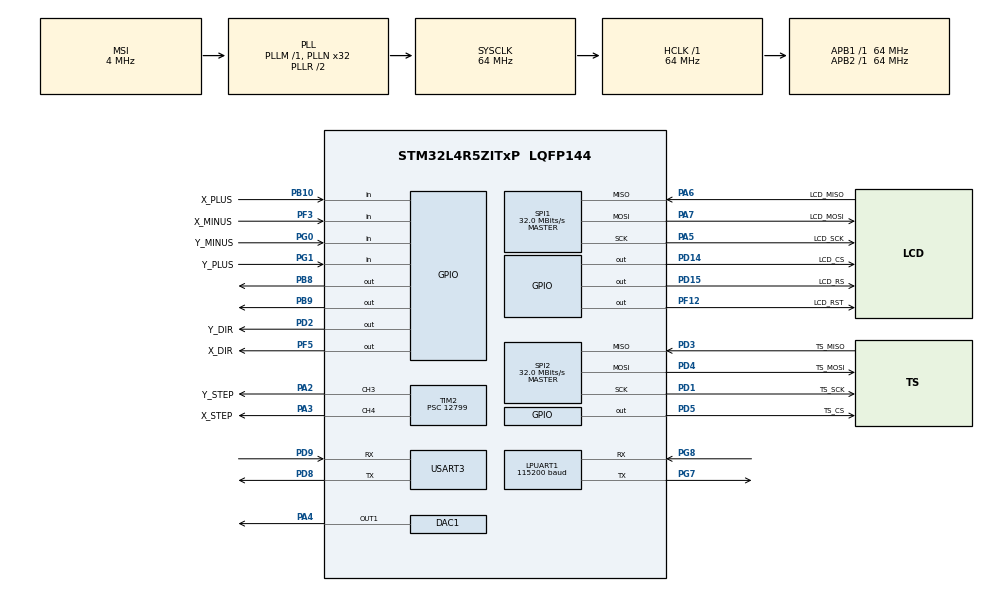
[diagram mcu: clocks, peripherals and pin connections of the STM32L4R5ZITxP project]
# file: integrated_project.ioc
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LPUART1.BaudRate=115200
LPUART1.WordLength=UART_WORDLENGTH_8B
Mcu.Family=STM32L4
Mcu.Name=STM32L4R5ZITxP
Mcu.Package=LQFP144
NVIC.PriorityGroup=NVIC_PRIORITYGROUP_4
NVIC.TIM1_TRG_COM_TIM17_IRQn=true\:0\:0\:false\:false\:true\:true\:true\:true
NVIC.TIM3_IRQn=true\:0\:0\:false\:false\:true\:true\:true\:true
PA0.Signal=S_TIM2_CH1
PA1.Signal=ADCx_IN6
PA10.Signal=USB_OTG_FS_ID
PA13\ (JTMS/SWDIO).Signal=SYS_JTMS-SWDIO
PA14\ (JTCK/SWCLK).Signal=SYS_JTCK-SWCLK
PA2.GPIO_Label=Y_STEP
PA2.Signal=S_TIM2_CH3
PA3.GPIO_Label=X_STEP
PA3.Signal=S_TIM2_CH4
PA4.Signal=COMP_DAC11_group
PA5.GPIO_Label=LCD_SCK
PA5.Mode=Full_Duplex_Master
PA5.Signal=SPI1_SCK
PA6.GPIO_Label=LCD_MISO
PA6.Mode=Full_Duplex_Master
PA6.Signal=SPI1_MISO
PA7.GPIO_Label=LCD_MOSI
PA7.Mode=Full_Duplex_Master
PA7.Signal=SPI1_MOSI
PA8.Signal=USB_OTG_FS_SOF
PA9.Signal=USB_OTG_FS_VBUS
PB0.Signal=S_TIM3_CH3
PB1.Signal=ADCx_IN16
PB10.GPIO_Label=X_PLUS
PB10.GPIO_PuPd=GPIO_PULLUP
PB10.Signal=GPIO_Input
PB12.Signal=SAI2_FS_A
PB13.Signal=SAI2_SCK_A
PB14.Signal=S_TIM15_CH1
PB15.Signal=SAI2_SD_A
PB2.Signal=COMP1_INP
PB3\ (JTDO/TRACESWO).Signal=SPI3_SCK
PB4\ (NJTRST).Signal=SPI3_MISO
PB5.Signal=SPI3_MOSI
PB6.Signal=COMP2_INP
PB8.Signal=GPIO_Output
PB9.Signal=GPIO_Output
PC0.Signal=ADCx_IN1
PC1.Signal=ADCx_IN2
PC10.Signal=SDMMC1_D2
PC11.Signal=SDMMC1_D3
PC12.Signal=SDMMC1_CK
PC13.Signal=SYS_WKUP2
PC14-OSC32_IN\ (PC14).Signal=RCC_OSC32_IN
PC15-OSC32_OUT\ (PC15).Signal=RCC_OSC32_OUT
PC2.Signal=ADCx_IN3
PC3.Signal=ADCx_IN4
PC4.Signal=ADCx_IN13
PC5.Signal=ADCx_IN14
PC6.Signal=SAI2_MCLK_A
PC7.Signal=S_TIM3_CH2
PC8.Signal=SDMMC1_D0
PC9.Signal=SDMMC1_D1
PD0.Signal=CAN1_RX
PD1.GPIO_Label=TS_SCK
PD1.Mode=Full_Duplex_Master
PD1.Signal=SPI2_SCK
PD14.GPIO_Label=LCD_CS
PD14.Signal=GPIO_Output
PD15.GPIO_Label=LCD_RS
PD15.Signal=GPIO_Output
PD2.GPIO_Label=Y_DIR
PD2.Signal=GPIO_Output
PD3.GPIO_Label=TS_MISO
PD3.Mode=Full_Duplex_Master
PD3.Signal=SPI2_MISO
PD4.GPIO_Label=TS_MOSI
PD4.Mode=Full_Duplex_Master
PD4.Signal=SPI2_MOSI
PD5.GPIO_Label=TS_CS
PD5.Signal=GPIO_Output
PD6.Signal=USART2_RX
PD8.Mode=Asynchronous
PD8.Signal=USART3_TX
PD9.Mode=Asynchronous
PD9.Signal=USART3_RX
PE0.Signal=S_TIM4_ETR
PE10.Signal=TIM1_CH2N
PE11.Signal=S_TIM1_CH2
PE12.Signal=TIM1_CH3N
PE13.Signal=S_TIM1_CH3
PE14.Signal=TIM1_BKIN2
PE15.Signal=TIM1_BKIN
PE2.Signal=SAI1_MCLK_A
PE3.Signal=SAI1_SD_B
PE7.Signal=S_TIM1_ETR
PE8.Signal=TIM1_CH1N
PE9.Signal=S_TIM1_CH1
PF0.Signal=I2C2_SDA
PF1.Signal=I2C2_SCL
PF12.GPIO_Label=LCD_RST
PF12.Signal=GPIO_Output
PF2.Signal=I2C2_SMBA
PF3.GPIO_Label=X_MINUS
PF3.GPIO_PuPd=GPIO_PULLUP
PF3.Signal=GPIO_Input
PF5.GPIO_Label=X_DIR
PF5.Signal=GPIO_Output
PF7.Signal=SAI1_MCLK_B
PG0.GPIO_Label=Y_MINUS
PG0.GPIO_PuPd=GPIO_PULLUP
PG0.Signal=GPIO_Input
PG1.GPIO_Label=Y_PLUS
PG1.GPIO_PuPd=GPIO_PULLUP
PG1.Signal=GPIO_Input
PG7.Mode=Asynchronous
PG7.Signal=LPUART1_TX
PG8.Mode=Asynchronous
PG8.Signal=LPUART1_RX
PH0-OSC_IN\ (PH0).Signal=RCC_OSC_IN
PH1-OSC_OUT\ (PH1).Signal=RCC_OSC_OUT
ProjectManager.HeapSize=0x200
ProjectManager.StackSize=0x400
ProjectManager.TargetToolchain=STM32CubeIDE
RCC.AHBFreq_Value=64000000
RCC.APB1Freq_Value=64000000
RCC.APB1TimFreq_Value=64000000
RCC.APB2Freq_Value=64000000
RCC.APB2TimFreq_Value=64000000
RCC.CortexFreq_Value=64000000
RCC.HCLKFreq_Value=64000000
RCC.HSE_VALUE=8000000
RCC.HSI48_VALUE=48000000
RCC.HSI_VALUE=16000000
RCC.LSE_VALUE=32768
RCC.MSI_VALUE=4000000
RCC.PLLN=32
RCC.SYSCLKFreq_VALUE=64000000
RCC.SYSCLKSource=RCC_SYSCLKSOURCE_PLLCLK
RCC.VCOOutputFreq_Value=128000000
SH.ADCx_IN1.0=ADC1_IN1
SH.ADCx_IN13.0=ADC1_IN13
SH.ADCx_IN14.0=ADC1_IN14
SH.ADCx_IN16.0=ADC1_IN16
SH.ADCx_IN2.0=ADC1_IN2
SH.ADCx_IN3.0=ADC1_IN3
SH.ADCx_IN4.0=ADC1_IN4
SH.ADCx_IN6.0=ADC1_IN6
SH.COMP_DAC11_group.0=DAC1_OUT1,DAC_OUT1
SH.S_TIM15_CH1.0=TIM15_CH1
SH.S_TIM1_CH1.0=TIM1_CH1
SH.S_TIM1_CH2.0=TIM1_CH2
SH.S_TIM1_CH3.0=TIM1_CH3
SH.S_TIM1_ETR.0=TIM1_ETR
SH.S_TIM2_CH1.0=TIM2_CH1
SH.S_TIM2_CH3.0=TIM2_CH3,PWM Generation3 CH3
SH.S_TIM2_CH4.0=TIM2_CH4,PWM Generation4 CH4
SH.S_TIM3_CH2.0=TIM3_CH2
SH.S_TIM3_CH3.0=TIM3_CH3
SH.S_TIM4_ETR.0=TIM4_ETR
SPI1.CalculateBaudRate=32.0 MBits/s
SPI1.DataSize=SPI_DATASIZE_8BIT
SPI1.Direction=SPI_DIRECTION_2LINES
SPI1.Mode=SPI_MODE_MASTER
SPI1.VirtualType=VM_MASTER
SPI2.CalculateBaudRate=32.0 MBits/s
SPI2.DataSize=SPI_DATASIZE_8BIT
SPI2.Direction=SPI_DIRECTION_2LINES
SPI2.Mode=SPI_MODE_MASTER
SPI2.VirtualType=VM_MASTER
TIM16.Channel=TIM_CHANNEL_1
TIM16.Prescaler=63999
TIM17.Channel=TIM_CHANNEL_1
TIM17.Period=999
TIM17.Prescaler=63
TIM2.Channel-PWM\ Generation3\ CH3=TIM_CHANNEL_3
TIM2.Channel-PWM\ Generation4\ CH4=TIM_CHANNEL_4
TIM2.Period=9
TIM2.Prescaler=12799
TIM2.Pulse-PWM\ Generation3\ CH3=5
TIM2.Pulse-PWM\ Generation4\ CH4=5
TIM3.Period=363
TIM3.Prescaler=3
USART3.FIFOMode=FIFOMODE_ENABLE
USART3.VirtualMode-Asynchronous=VM_ASYNC
VP_TIM16_VS_ClockSourceINT.Mode=Enable_Timer
VP_TIM16_VS_no_output1.Mode=Output Compare1 No Output
VP_TIM17_VS_ClockSourceINT.Mode=Enable_Timer
VP_TIM17_VS_no_output1.Mode=Output Compare1 No Output
VP_TIM2_VS_ClockSourceINT.Mode=Internal
VP_TIM3_VS_ClockSourceINT.Mode=Internal
board=NUCLEO-L4R5ZI-P

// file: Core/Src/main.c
/* USER CODE BEGIN Header */
/**
  ******************************************************************************
  * @file           : main.c
  * @brief          : Main program body
  ******************************************************************************
  * @attention
  *
  * Copyright (c) 2023 STMicroelectronics.
  * All rights reserved.
  *
  * This software is licensed under terms that can be found in the LICENSE file
  * in the root directory of this software component.
  * If no LICENSE file comes with this software, it is provided AS-IS.
  *
  ******************************************************************************
  */
/* USER CODE END Header */
#include "main.h"

/* USER CODE BEGIN Includes */
#include "actuator_driver.h"
#include "audio_driver.h"
#include "lcd_driver.h"
#include "motor_driver.h"
#include "pixy_driver.h"
#include "ttt_game.h"
#include "stm32_adafruit_lcd.h"
#include "stm32_adafruit_ts.h"
/* USER CODE END Includes */

DAC_HandleTypeDef hdac1;

UART_HandleTypeDef hlpuart1;
UART_HandleTypeDef huart3;

SPI_HandleTypeDef hspi1;
SPI_HandleTypeDef hspi2;

TIM_HandleTypeDef htim2;
TIM_HandleTypeDef htim3;
TIM_HandleTypeDef htim16;
TIM_HandleTypeDef htim17;

/* USER CODE BEGIN PV */
extern uint8_t xPlus;
extern uint8_t xMinus;
extern uint8_t yPlus;
extern uint8_t yMinus;
extern uint32_t current_audio_state;
/* USER CODE END PV */

void SystemClock_Config(void);
static void MX_GPIO_Init(void);
static void MX_LPUART1_UART_Init(void);
static void MX_TIM2_Init(void);
static void MX_TIM16_Init(void);
static void MX_TIM17_Init(void);
static void MX_SPI1_Init(void);
static void MX_SPI2_Init(void);
static void MX_USART3_UART_Init(void);
static void MX_DAC1_Init(void);
static void MX_TIM3_Init(void);

/* USER CODE BEGIN 0 */
void TIM3_ISR() {
	// timer used to play audio at the proper sampling freq
	Audio_StateMachine(&hdac1);
}

void TIM17_ISR() {
	// timer used to monitor/poll limit switches every 1ms
	xMinus = HAL_GPIO_ReadPin(X_MINUS_Limit_Port, X_MINUS_Limit_Pin);
	xPlus = HAL_GPIO_ReadPin(X_PLUS_Limit_Port, X_PLUS_Limit_Pin);
	yMinus = HAL_GPIO_ReadPin(Y_MINUS_Limit_Port, Y_MINUS_Limit_Pin);
	yPlus = HAL_GPIO_ReadPin(Y_PLUS_Limit_Port, Y_PLUS_Limit_Pin);
}
/* USER CODE END 0 */

int main(void)
{

  /* MCU Configuration--------------------------------------------------------*/

  /* Reset of all peripherals, Initializes the Flash interface and the Systick. */
  HAL_Init();

  /* Configure the system clock */
  SystemClock_Config();

  /* Initialize all configured peripherals */
  MX_GPIO_Init();
  MX_LPUART1_UART_Init();
  MX_TIM2_Init();
  MX_TIM16_Init();
  MX_TIM17_Init();
  MX_SPI1_Init();
  MX_SPI2_Init();
  MX_USART3_UART_Init();
  MX_DAC1_Init();
  MX_TIM3_Init();
  /* USER CODE BEGIN 2 */
  HAL_DAC_SetValue(&hdac1, DAC_CHANNEL_1, DAC_ALIGN_8B_R, 0x0); // DAC for audio
  HAL_DAC_Start(&hdac1, DAC_CHANNEL_1);
  HAL_TIM_Base_Start_IT(&htim3); // TIM3 needed to drive the DAC at our sampling freq of 44.1kHz
  HAL_TIM_Base_Start_IT(&htim17); // poll limit swtiches
  LCD_Init();
  struct Plotter plotter = {
		  0, 0, 0, 0,
		  &htim2, &htim2,
		  TIM_CHANNEL_4, TIM_CHANNEL_3
  }; //TIM2 used for PWM
  Motor_Init(&plotter);
  /* USER CODE END 2 */

  /* Infinite loop */
  while (1)
  {

    /* USER CODE BEGIN 3 */
	  mainApp(&plotter, &huart3);
  }
  /* USER CODE END 3 */
}

void SystemClock_Config(void)
{
  RCC_OscInitTypeDef RCC_OscInitStruct = {0};
  RCC_ClkInitTypeDef RCC_ClkInitStruct = {0};

  /** Configure the main internal regulator output voltage
  */
  if (HAL_PWREx_ControlVoltageScaling(PWR_REGULATOR_VOLTAGE_SCALE1) != HAL_OK)
  {
    Error_Handler();
  }

  /** Initializes the RCC Oscillators according to the specified parameters
  * in the RCC_OscInitTypeDef structure.
  */
  RCC_OscInitStruct.OscillatorType = RCC_OSCILLATORTYPE_MSI;
  RCC_OscInitStruct.MSIState = RCC_MSI_ON;
  RCC_OscInitStruct.MSICalibrationValue = 0;
  RCC_OscInitStruct.MSIClockRange = RCC_MSIRANGE_6;
  RCC_OscInitStruct.PLL.PLLState = RCC_PLL_ON;
  RCC_OscInitStruct.PLL.PLLSource = RCC_PLLSOURCE_MSI;
  RCC_OscInitStruct.PLL.PLLM = 1;
  RCC_OscInitStruct.PLL.PLLN = 32;
  RCC_OscInitStruct.PLL.PLLP = RCC_PLLP_DIV2;
  RCC_OscInitStruct.PLL.PLLQ = RCC_PLLQ_DIV2;
  RCC_OscInitStruct.PLL.PLLR = RCC_PLLR_DIV2;
  if (HAL_RCC_OscConfig(&RCC_OscInitStruct) != HAL_OK)
  {
    Error_Handler();
  }

  /** Initializes the CPU, AHB and APB buses clocks
  */
  RCC_ClkInitStruct.ClockType = RCC_CLOCKTYPE_HCLK|RCC_CLOCKTYPE_SYSCLK
                              |RCC_CLOCKTYPE_PCLK1|RCC_CLOCKTYPE_PCLK2;
  RCC_ClkInitStruct.SYSCLKSource = RCC_SYSCLKSOURCE_PLLCLK;
  RCC_ClkInitStruct.AHBCLKDivider = RCC_SYSCLK_DIV1;
  RCC_ClkInitStruct.APB1CLKDivider = RCC_HCLK_DIV1;
  RCC_ClkInitStruct.APB2CLKDivider = RCC_HCLK_DIV1;

  if (HAL_RCC_ClockConfig(&RCC_ClkInitStruct, FLASH_LATENCY_3) != HAL_OK)
  {
    Error_Handler();
  }
}

static void MX_DAC1_Init(void)
{

  DAC_ChannelConfTypeDef sConfig = {0};

  /** DAC Initialization
  */
  hdac1.Instance = DAC1;
  if (HAL_DAC_Init(&hdac1) != HAL_OK)
  {
    Error_Handler();
  }

  /** DAC channel OUT1 config
  */
  sConfig.DAC_SampleAndHold = DAC_SAMPLEANDHOLD_DISABLE;
  sConfig.DAC_Trigger = DAC_TRIGGER_NONE;
  sConfig.DAC_HighFrequency = DAC_HIGH_FREQUENCY_INTERFACE_MODE_DISABLE;
  sConfig.DAC_OutputBuffer = DAC_OUTPUTBUFFER_ENABLE;
  sConfig.DAC_ConnectOnChipPeripheral = DAC_CHIPCONNECT_DISABLE;
  sConfig.DAC_UserTrimming = DAC_TRIMMING_FACTORY;
  if (HAL_DAC_ConfigChannel(&hdac1, &sConfig, DAC_CHANNEL_1) != HAL_OK)
  {
    Error_Handler();
  }

}

static void MX_LPUART1_UART_Init(void)
{

  hlpuart1.Instance = LPUART1;
  hlpuart1.Init.BaudRate = 115200;
  hlpuart1.Init.WordLength = UART_WORDLENGTH_8B;
  hlpuart1.Init.StopBits = UART_STOPBITS_1;
  hlpuart1.Init.Parity = UART_PARITY_NONE;
  hlpuart1.Init.Mode = UART_MODE_TX_RX;
  hlpuart1.Init.HwFlowCtl = UART_HWCONTROL_NONE;
  hlpuart1.Init.OneBitSampling = UART_ONE_BIT_SAMPLE_DISABLE;
  hlpuart1.Init.ClockPrescaler = UART_PRESCALER_DIV1;
  hlpuart1.AdvancedInit.AdvFeatureInit = UART_ADVFEATURE_NO_INIT;
  hlpuart1.FifoMode = UART_FIFOMODE_DISABLE;
  if (HAL_UART_Init(&hlpuart1) != HAL_OK)
  {
    Error_Handler();
  }
  if (HAL_UARTEx_SetTxFifoThreshold(&hlpuart1, UART_TXFIFO_THRESHOLD_1_8) != HAL_OK)
  {
    Error_Handler();
  }
  if (HAL_UARTEx_SetRxFifoThreshold(&hlpuart1, UART_RXFIFO_THRESHOLD_1_8) != HAL_OK)
  {
    Error_Handler();
  }
  if (HAL_UARTEx_DisableFifoMode(&hlpuart1) != HAL_OK)
  {
    Error_Handler();
  }

}

static void MX_USART3_UART_Init(void)
{

  huart3.Instance = USART3;
  huart3.Init.BaudRate = 115200;
  huart3.Init.WordLength = UART_WORDLENGTH_8B;
  huart3.Init.StopBits = UART_STOPBITS_1;
  huart3.Init.Parity = UART_PARITY_NONE;
  huart3.Init.Mode = UART_MODE_TX_RX;
  huart3.Init.HwFlowCtl = UART_HWCONTROL_NONE;
  huart3.Init.OverSampling = UART_OVERSAMPLING_16;
  huart3.Init.OneBitSampling = UART_ONE_BIT_SAMPLE_DISABLE;
  huart3.Init.ClockPrescaler = UART_PRESCALER_DIV1;
  huart3.AdvancedInit.AdvFeatureInit = UART_ADVFEATURE_NO_INIT;
  if (HAL_UART_Init(&huart3) != HAL_OK)
  {
    Error_Handler();
  }
  if (HAL_UARTEx_SetTxFifoThreshold(&huart3, UART_TXFIFO_THRESHOLD_1_8) != HAL_OK)
  {
    Error_Handler();
  }
  if (HAL_UARTEx_SetRxFifoThreshold(&huart3, UART_RXFIFO_THRESHOLD_1_8) != HAL_OK)
  {
    Error_Handler();
  }
  if (HAL_UARTEx_EnableFifoMode(&huart3) != HAL_OK)
  {
    Error_Handler();
  }

}

static void MX_SPI1_Init(void)
{

  /* SPI1 parameter configuration*/
  hspi1.Instance = SPI1;
  hspi1.Init.Mode = SPI_MODE_MASTER;
  hspi1.Init.Direction = SPI_DIRECTION_2LINES;
  hspi1.Init.DataSize = SPI_DATASIZE_8BIT;
  hspi1.Init.CLKPolarity = SPI_POLARITY_LOW;
  hspi1.Init.CLKPhase = SPI_PHASE_1EDGE;
  hspi1.Init.NSS = SPI_NSS_SOFT;
  hspi1.Init.BaudRatePrescaler = SPI_BAUDRATEPRESCALER_2;
  hspi1.Init.FirstBit = SPI_FIRSTBIT_MSB;
  hspi1.Init.TIMode = SPI_TIMODE_DISABLE;
  hspi1.Init.CRCCalculation = SPI_CRCCALCULATION_DISABLE;
  hspi1.Init.CRCPolynomial = 7;
  hspi1.Init.CRCLength = SPI_CRC_LENGTH_DATASIZE;
  hspi1.Init.NSSPMode = SPI_NSS_PULSE_ENABLE;
  if (HAL_SPI_Init(&hspi1) != HAL_OK)
  {
    Error_Handler();
  }

}

static void MX_SPI2_Init(void)
{

  /* SPI2 parameter configuration*/
  hspi2.Instance = SPI2;
  hspi2.Init.Mode = SPI_MODE_MASTER;
  hspi2.Init.Direction = SPI_DIRECTION_2LINES;
  hspi2.Init.DataSize = SPI_DATASIZE_8BIT;
  hspi2.Init.CLKPolarity = SPI_POLARITY_LOW;
  hspi2.Init.CLKPhase = SPI_PHASE_1EDGE;
  hspi2.Init.NSS = SPI_NSS_SOFT;
  hspi2.Init.BaudRatePrescaler = SPI_BAUDRATEPRESCALER_2;
  hspi2.Init.FirstBit = SPI_FIRSTBIT_MSB;
  hspi2.Init.TIMode = SPI_TIMODE_DISABLE;
  hspi2.Init.CRCCalculation = SPI_CRCCALCULATION_DISABLE;
  hspi2.Init.CRCPolynomial = 7;
  hspi2.Init.CRCLength = SPI_CRC_LENGTH_DATASIZE;
  hspi2.Init.NSSPMode = SPI_NSS_PULSE_ENABLE;
  if (HAL_SPI_Init(&hspi2) != HAL_OK)
  {
    Error_Handler();
  }

}

static void MX_TIM2_Init(void)
{

  TIM_ClockConfigTypeDef sClockSourceConfig = {0};
  TIM_MasterConfigTypeDef sMasterConfig = {0};
  TIM_OC_InitTypeDef sConfigOC = {0};

  htim2.Instance = TIM2;
  htim2.Init.Prescaler = 12799;
  htim2.Init.CounterMode = TIM_COUNTERMODE_UP;
  htim2.Init.Period = 9;
  htim2.Init.ClockDivision = TIM_CLOCKDIVISION_DIV1;
  htim2.Init.AutoReloadPreload = TIM_AUTORELOAD_PRELOAD_DISABLE;
  if (HAL_TIM_Base_Init(&htim2) != HAL_OK)
  {
    Error_Handler();
  }
  sClockSourceConfig.ClockSource = TIM_CLOCKSOURCE_INTERNAL;
  if (HAL_TIM_ConfigClockSource(&htim2, &sClockSourceConfig) != HAL_OK)
  {
    Error_Handler();
  }
  if (HAL_TIM_PWM_Init(&htim2) != HAL_OK)
  {
    Error_Handler();
  }
  sMasterConfig.MasterOutputTrigger = TIM_TRGO_RESET;
  sMasterConfig.MasterSlaveMode = TIM_MASTERSLAVEMODE_DISABLE;
  if (HAL_TIMEx_MasterConfigSynchronization(&htim2, &sMasterConfig) != HAL_OK)
  {
    Error_Handler();
  }
  sConfigOC.OCMode = TIM_OCMODE_PWM1;
  sConfigOC.Pulse = 5;
  sConfigOC.OCPolarity = TIM_OCPOLARITY_HIGH;
  sConfigOC.OCFastMode = TIM_OCFAST_DISABLE;
  if (HAL_TIM_PWM_ConfigChannel(&htim2, &sConfigOC, TIM_CHANNEL_3) != HAL_OK)
  {
    Error_Handler();
  }
  if (HAL_TIM_PWM_ConfigChannel(&htim2, &sConfigOC, TIM_CHANNEL_4) != HAL_OK)
  {
    Error_Handler();
  }
  HAL_TIM_MspPostInit(&htim2);

}

static void MX_TIM3_Init(void)
{

  TIM_ClockConfigTypeDef sClockSourceConfig = {0};
  TIM_MasterConfigTypeDef sMasterConfig = {0};

  htim3.Instance = TIM3;
  htim3.Init.Prescaler = 3;
  htim3.Init.CounterMode = TIM_COUNTERMODE_UP;
  htim3.Init.Period = 363;
  htim3.Init.ClockDivision = TIM_CLOCKDIVISION_DIV1;
  htim3.Init.AutoReloadPreload = TIM_AUTORELOAD_PRELOAD_DISABLE;
  if (HAL_TIM_Base_Init(&htim3) != HAL_OK)
  {
    Error_Handler();
  }
  sClockSourceConfig.ClockSource = TIM_CLOCKSOURCE_INTERNAL;
  if (HAL_TIM_ConfigClockSource(&htim3, &sClockSourceConfig) != HAL_OK)
  {
    Error_Handler();
  }
  sMasterConfig.MasterOutputTrigger = TIM_TRGO_RESET;
  sMasterConfig.MasterSlaveMode = TIM_MASTERSLAVEMODE_DISABLE;
  if (HAL_TIMEx_MasterConfigSynchronization(&htim3, &sMasterConfig) != HAL_OK)
  {
    Error_Handler();
  }

}

static void MX_TIM16_Init(void)
{

  TIM_OC_InitTypeDef sConfigOC = {0};
  TIM_BreakDeadTimeConfigTypeDef sBreakDeadTimeConfig = {0};

  htim16.Instance = TIM16;
  htim16.Init.Prescaler = 63999;
  htim16.Init.CounterMode = TIM_COUNTERMODE_UP;
  htim16.Init.Period = 65535;
  htim16.Init.ClockDivision = TIM_CLOCKDIVISION_DIV1;
  htim16.Init.RepetitionCounter = 0;
  htim16.Init.AutoReloadPreload = TIM_AUTORELOAD_PRELOAD_DISABLE;
  if (HAL_TIM_Base_Init(&htim16) != HAL_OK)
  {
    Error_Handler();
  }
  if (HAL_TIM_OC_Init(&htim16) != HAL_OK)
  {
    Error_Handler();
  }
  sConfigOC.OCMode = TIM_OCMODE_TIMING;
  sConfigOC.Pulse = 0;
  sConfigOC.OCPolarity = TIM_OCPOLARITY_HIGH;
  sConfigOC.OCNPolarity = TIM_OCNPOLARITY_HIGH;
  sConfigOC.OCFastMode = TIM_OCFAST_DISABLE;
  sConfigOC.OCIdleState = TIM_OCIDLESTATE_RESET;
  sConfigOC.OCNIdleState = TIM_OCNIDLESTATE_RESET;
  if (HAL_TIM_OC_ConfigChannel(&htim16, &sConfigOC, TIM_CHANNEL_1) != HAL_OK)
  {
    Error_Handler();
  }
  sBreakDeadTimeConfig.OffStateRunMode = TIM_OSSR_DISABLE;
  sBreakDeadTimeConfig.OffStateIDLEMode = TIM_OSSI_DISABLE;
  sBreakDeadTimeConfig.LockLevel = TIM_LOCKLEVEL_OFF;
  sBreakDeadTimeConfig.DeadTime = 0;
  sBreakDeadTimeConfig.BreakState = TIM_BREAK_DISABLE;
  sBreakDeadTimeConfig.BreakPolarity = TIM_BREAKPOLARITY_HIGH;
  sBreakDeadTimeConfig.AutomaticOutput = TIM_AUTOMATICOUTPUT_DISABLE;
  if (HAL_TIMEx_ConfigBreakDeadTime(&htim16, &sBreakDeadTimeConfig) != HAL_OK)
  {
    Error_Handler();
  }

}

static void MX_TIM17_Init(void)
{

  TIM_OC_InitTypeDef sConfigOC = {0};
  TIM_BreakDeadTimeConfigTypeDef sBreakDeadTimeConfig = {0};

  htim17.Instance = TIM17;
  htim17.Init.Prescaler = 63;
  htim17.Init.CounterMode = TIM_COUNTERMODE_UP;
  htim17.Init.Period = 999;
  htim17.Init.ClockDivision = TIM_CLOCKDIVISION_DIV1;
  htim17.Init.RepetitionCounter = 0;
  htim17.Init.AutoReloadPreload = TIM_AUTORELOAD_PRELOAD_DISABLE;
  if (HAL_TIM_Base_Init(&htim17) != HAL_OK)
  {
    Error_Handler();
  }
  if (HAL_TIM_OC_Init(&htim17) != HAL_OK)
  {
    Error_Handler();
  }
  sConfigOC.OCMode = TIM_OCMODE_TIMING;
  sConfigOC.Pulse = 0;
  sConfigOC.OCPolarity = TIM_OCPOLARITY_HIGH;
  sConfigOC.OCNPolarity = TIM_OCNPOLARITY_HIGH;
  sConfigOC.OCFastMode = TIM_OCFAST_DISABLE;
  sConfigOC.OCIdleState = TIM_OCIDLESTATE_RESET;
  sConfigOC.OCNIdleState = TIM_OCNIDLESTATE_RESET;
  if (HAL_TIM_OC_ConfigChannel(&htim17, &sConfigOC, TIM_CHANNEL_1) != HAL_OK)
  {
    Error_Handler();
  }
  sBreakDeadTimeConfig.OffStateRunMode = TIM_OSSR_DISABLE;
  sBreakDeadTimeConfig.OffStateIDLEMode = TIM_OSSI_DISABLE;
  sBreakDeadTimeConfig.LockLevel = TIM_LOCKLEVEL_OFF;
  sBreakDeadTimeConfig.DeadTime = 0;
  sBreakDeadTimeConfig.BreakState = TIM_BREAK_DISABLE;
  sBreakDeadTimeConfig.BreakPolarity = TIM_BREAKPOLARITY_HIGH;
  sBreakDeadTimeConfig.AutomaticOutput = TIM_AUTOMATICOUTPUT_DISABLE;
  if (HAL_TIMEx_ConfigBreakDeadTime(&htim17, &sBreakDeadTimeConfig) != HAL_OK)
  {
    Error_Handler();
  }

}

static void MX_GPIO_Init(void)
{
  GPIO_InitTypeDef GPIO_InitStruct = {0};

  /* GPIO Ports Clock Enable */
  __HAL_RCC_GPIOE_CLK_ENABLE();
  __HAL_RCC_GPIOC_CLK_ENABLE();
  __HAL_RCC_GPIOF_CLK_ENABLE();
  __HAL_RCC_GPIOH_CLK_ENABLE();
  __HAL_RCC_GPIOA_CLK_ENABLE();
  __HAL_RCC_GPIOB_CLK_ENABLE();
  __HAL_RCC_GPIOG_CLK_ENABLE();
  __HAL_RCC_GPIOD_CLK_ENABLE();
  HAL_PWREx_EnableVddIO2();

  /*Configure GPIO pin Output Level */
  HAL_GPIO_WritePin(GPIOF, X_DIR_Pin|LCD_RST_Pin, GPIO_PIN_RESET);

  /*Configure GPIO pin Output Level */
  HAL_GPIO_WritePin(GPIOD, LCD_CS_Pin|LCD_RS_Pin|Y_DIR_Pin|TS_CS_Pin, GPIO_PIN_RESET);

  /*Configure GPIO pin Output Level */
  HAL_GPIO_WritePin(GPIOB, GPIO_PIN_8|GPIO_PIN_9, GPIO_PIN_RESET);

  /*Configure GPIO pins : PE2 PE3 */
  GPIO_InitStruct.Pin = GPIO_PIN_2|GPIO_PIN_3;
  GPIO_InitStruct.Mode = GPIO_MODE_AF_PP;
  GPIO_InitStruct.Pull = GPIO_NOPULL;
  GPIO_InitStruct.Speed = GPIO_SPEED_FREQ_LOW;
  GPIO_InitStruct.Alternate = GPIO_AF13_SAI1;
  HAL_GPIO_Init(GPIOE, &GPIO_InitStruct);

  /*Configure GPIO pins : PF0 PF1 PF2 */
  GPIO_InitStruct.Pin = GPIO_PIN_0|GPIO_PIN_1|GPIO_PIN_2;
  GPIO_InitStruct.Mode = GPIO_MODE_AF_OD;
  GPIO_InitStruct.Pull = GPIO_NOPULL;
  GPIO_InitStruct.Speed = GPIO_SPEED_FREQ_VERY_HIGH;
  GPIO_InitStruct.Alternate = GPIO_AF4_I2C2;
  HAL_GPIO_Init(GPIOF, &GPIO_InitStruct);

  /*Configure GPIO pin : X_MINUS_Pin */
  GPIO_InitStruct.Pin = X_MINUS_Pin;
  GPIO_InitStruct.Mode = GPIO_MODE_INPUT;
  GPIO_InitStruct.Pull = GPIO_PULLUP;
  HAL_GPIO_Init(X_MINUS_GPIO_Port, &GPIO_InitStruct);

  /*Configure GPIO pins : X_DIR_Pin LCD_RST_Pin */
  GPIO_InitStruct.Pin = X_DIR_Pin|LCD_RST_Pin;
  GPIO_InitStruct.Mode = GPIO_MODE_OUTPUT_PP;
  GPIO_InitStruct.Pull = GPIO_NOPULL;
  GPIO_InitStruct.Speed = GPIO_SPEED_FREQ_LOW;
  HAL_GPIO_Init(GPIOF, &GPIO_InitStruct);

  /*Configure GPIO pin : PF7 */
  GPIO_InitStruct.Pin = GPIO_PIN_7;
  GPIO_InitStruct.Mode = GPIO_MODE_AF_PP;
  GPIO_InitStruct.Pull = GPIO_NOPULL;
  GPIO_InitStruct.Speed = GPIO_SPEED_FREQ_LOW;
  GPIO_InitStruct.Alternate = GPIO_AF13_SAI1;
  HAL_GPIO_Init(GPIOF, &GPIO_InitStruct);

  /*Configure GPIO pins : PC0 PC1 PC2 PC3
                           PC4 PC5 */
  GPIO_InitStruct.Pin = GPIO_PIN_0|GPIO_PIN_1|GPIO_PIN_2|GPIO_PIN_3
                          |GPIO_PIN_4|GPIO_PIN_5;
  GPIO_InitStruct.Mode = GPIO_MODE_ANALOG_ADC_CONTROL;
  GPIO_InitStruct.Pull = GPIO_NOPULL;
  HAL_GPIO_Init(GPIOC, &GPIO_InitStruct);

  /*Configure GPIO pin : PA1 */
  GPIO_InitStruct.Pin = GPIO_PIN_1;
  GPIO_InitStruct.Mode = GPIO_MODE_ANALOG_ADC_CONTROL;
  GPIO_InitStruct.Pull = GPIO_NOPULL;
  HAL_GPIO_Init(GPIOA, &GPIO_InitStruct);

  /*Configure GPIO pin : PB1 */
  GPIO_InitStruct.Pin = GPIO_PIN_1;
  GPIO_InitStruct.Mode = GPIO_MODE_ANALOG_ADC_CONTROL;
  GPIO_InitStruct.Pull = GPIO_NOPULL;
  HAL_GPIO_Init(GPIOB, &GPIO_InitStruct);

  /*Configure GPIO pins : PB2 PB6 */
  GPIO_InitStruct.Pin = GPIO_PIN_2|GPIO_PIN_6;
  GPIO_InitStruct.Mode = GPIO_MODE_ANALOG;
  GPIO_InitStruct.Pull = GPIO_NOPULL;
  HAL_GPIO_Init(GPIOB, &GPIO_InitStruct);

  /*Configure GPIO pins : Y_MINUS_Pin Y_PLUS_Pin */
  GPIO_InitStruct.Pin = Y_MINUS_Pin|Y_PLUS_Pin;
  GPIO_InitStruct.Mode = GPIO_MODE_INPUT;
  GPIO_InitStruct.Pull = GPIO_PULLUP;
  HAL_GPIO_Init(GPIOG, &GPIO_InitStruct);

  /*Configure GPIO pins : PE7 PE8 PE9 PE10
                           PE11 PE12 PE13 */
  GPIO_InitStruct.Pin = GPIO_PIN_7|GPIO_PIN_8|GPIO_PIN_9|GPIO_PIN_10
                          |GPIO_PIN_11|GPIO_PIN_12|GPIO_PIN_13;
  GPIO_InitStruct.Mode = GPIO_MODE_AF_PP;
  GPIO_InitStruct.Pull = GPIO_NOPULL;
  GPIO_InitStruct.Speed = GPIO_SPEED_FREQ_LOW;
  GPIO_InitStruct.Alternate = GPIO_AF1_TIM1;
  HAL_GPIO_Init(GPIOE, &GPIO_InitStruct);

  /*Configure GPIO pins : PE14 PE15 */
  GPIO_InitStruct.Pin = GPIO_PIN_14|GPIO_PIN_15;
  GPIO_InitStruct.Mode = GPIO_MODE_AF_PP;
  GPIO_InitStruct.Pull = GPIO_NOPULL;
  GPIO_InitStruct.Speed = GPIO_SPEED_FREQ_LOW;
  GPIO_InitStruct.Alternate = GPIO_AF3_TIM1_COMP1;
  HAL_GPIO_Init(GPIOE, &GPIO_InitStruct);

  /*Configure GPIO pin : X_PLUS_Pin */
  GPIO_InitStruct.Pin = X_PLUS_Pin;
  GPIO_InitStruct.Mode = GPIO_MODE_INPUT;
  GPIO_InitStruct.Pull = GPIO_PULLUP;
  HAL_GPIO_Init(X_PLUS_GPIO_Port, &GPIO_InitStruct);

  /*Configure GPIO pins : PB12 PB13 PB15 */
  GPIO_InitStruct.Pin = GPIO_PIN_12|GPIO_PIN_13|GPIO_PIN_15;
  GPIO_InitStruct.Mode = GPIO_MODE_AF_PP;
  GPIO_InitStruct.Pull = GPIO_NOPULL;
  GPIO_InitStruct.Speed = GPIO_SPEED_FREQ_LOW;
  GPIO_InitStruct.Alternate = GPIO_AF13_SAI2;
  HAL_GPIO_Init(GPIOB, &GPIO_InitStruct);

  /*Configure GPIO pin : PB14 */
  GPIO_InitStruct.Pin = GPIO_PIN_14;
  GPIO_InitStruct.Mode = GPIO_MODE_AF_PP;
  GPIO_InitStruct.Pull = GPIO_NOPULL;
  GPIO_InitStruct.Speed = GPIO_SPEED_FREQ_LOW;
  GPIO_InitStruct.Alternate = GPIO_AF14_TIM15;
  HAL_GPIO_Init(GPIOB, &GPIO_InitStruct);

  /*Configure GPIO pins : LCD_CS_Pin LCD_RS_Pin Y_DIR_Pin TS_CS_Pin */
  GPIO_InitStruct.Pin = LCD_CS_Pin|LCD_RS_Pin|Y_DIR_Pin|TS_CS_Pin;
  GPIO_InitStruct.Mode = GPIO_MODE_OUTPUT_PP;
  GPIO_InitStruct.Pull = GPIO_NOPULL;
  GPIO_InitStruct.Speed = GPIO_SPEED_FREQ_LOW;
  HAL_GPIO_Init(GPIOD, &GPIO_InitStruct);

  /*Configure GPIO pin : PC6 */
  GPIO_InitStruct.Pin = GPIO_PIN_6;
  GPIO_InitStruct.Mode = GPIO_MODE_AF_PP;
  GPIO_InitStruct.Pull = GPIO_NOPULL;
  GPIO_InitStruct.Speed = GPIO_SPEED_FREQ_LOW;
  GPIO_InitStruct.Alternate = GPIO_AF13_SAI2;
  HAL_GPIO_Init(GPIOC, &GPIO_InitStruct);

  /*Configure GPIO pins : PC8 PC9 PC10 PC11
                           PC12 */
  GPIO_InitStruct.Pin = GPIO_PIN_8|GPIO_PIN_9|GPIO_PIN_10|GPIO_PIN_11
                          |GPIO_PIN_12;
  GPIO_InitStruct.Mode = GPIO_MODE_AF_PP;
  GPIO_InitStruct.Pull = GPIO_NOPULL;
  GPIO_InitStruct.Speed = GPIO_SPEED_FREQ_VERY_HIGH;
  GPIO_InitStruct.Alternate = GPIO_AF12_SDMMC1;
  HAL_GPIO_Init(GPIOC, &GPIO_InitStruct);

  /*Configure GPIO pins : PA8 PA10 */
  GPIO_InitStruct.Pin = GPIO_PIN_8|GPIO_PIN_10;
  GPIO_InitStruct.Mode = GPIO_MODE_AF_PP;
  GPIO_InitStruct.Pull = GPIO_NOPULL;
  GPIO_InitStruct.Speed = GPIO_SPEED_FREQ_VERY_HIGH;
  GPIO_InitStruct.Alternate = GPIO_AF10_OTG_FS;
  HAL_GPIO_Init(GPIOA, &GPIO_InitStruct);

  /*Configure GPIO pin : PA9 */
  GPIO_InitStruct.Pin = GPIO_PIN_9;
  GPIO_InitStruct.Mode = GPIO_MODE_INPUT;
  GPIO_InitStruct.Pull = GPIO_NOPULL;
  HAL_GPIO_Init(GPIOA, &GPIO_InitStruct);

  /*Configure GPIO pin : PD0 */
  GPIO_InitStruct.Pin = GPIO_PIN_0;
  GPIO_InitStruct.Mode = GPIO_MODE_AF_PP;
  GPIO_InitStruct.Pull = GPIO_NOPULL;
  GPIO_InitStruct.Speed = GPIO_SPEED_FREQ_VERY_HIGH;
  GPIO_InitStruct.Alternate = GPIO_AF9_CAN1;
  HAL_GPIO_Init(GPIOD, &GPIO_InitStruct);

  /*Configure GPIO pin : PD6 */
  GPIO_InitStruct.Pin = GPIO_PIN_6;
  GPIO_InitStruct.Mode = GPIO_MODE_AF_PP;
  GPIO_InitStruct.Pull = GPIO_NOPULL;
  GPIO_InitStruct.Speed = GPIO_SPEED_FREQ_VERY_HIGH;
  GPIO_InitStruct.Alternate = GPIO_AF7_USART2;
  HAL_GPIO_Init(GPIOD, &GPIO_InitStruct);

  /*Configure GPIO pins : PB3 PB4 PB5 */
  GPIO_InitStruct.Pin = GPIO_PIN_3|GPIO_PIN_4|GPIO_PIN_5;
  GPIO_InitStruct.Mode = GPIO_MODE_AF_PP;
  GPIO_InitStruct.Pull = GPIO_NOPULL;
  GPIO_InitStruct.Speed = GPIO_SPEED_FREQ_VERY_HIGH;
  GPIO_InitStruct.Alternate = GPIO_AF6_SPI3;
  HAL_GPIO_Init(GPIOB, &GPIO_InitStruct);

  /*Configure GPIO pins : PB8 PB9 */
  GPIO_InitStruct.Pin = GPIO_PIN_8|GPIO_PIN_9;
  GPIO_InitStruct.Mode = GPIO_MODE_OUTPUT_PP;
  GPIO_InitStruct.Pull = GPIO_NOPULL;
  GPIO_InitStruct.Speed = GPIO_SPEED_FREQ_LOW;
  HAL_GPIO_Init(GPIOB, &GPIO_InitStruct);

  /*Configure GPIO pin : PE0 */
  GPIO_InitStruct.Pin = GPIO_PIN_0;
  GPIO_InitStruct.Mode = GPIO_MODE_AF_PP;
  GPIO_InitStruct.Pull = GPIO_NOPULL;
  GPIO_InitStruct.Speed = GPIO_SPEED_FREQ_LOW;
  GPIO_InitStruct.Alternate = GPIO_AF2_TIM4;
  HAL_GPIO_Init(GPIOE, &GPIO_InitStruct);

}

/* USER CODE BEGIN 4 */

#ifdef __GNUC__
#define PUTCHAR_PROTOTYPE int __io_putchar(int ch)
#else
  #define PUTCHAR_PROTOTYPE int fputc(int ch, FILE *f)
#endif /* __GNUC__ */
PUTCHAR_PROTOTYPE
{
  HAL_UART_Transmit(&hlpuart1, (uint8_t *)&ch, 1, 0xFFFF);
  return ch;
}

/* USER CODE END 4 */

void Error_Handler(void)
{
  __disable_irq();
  while (1)
  {
  }
}
